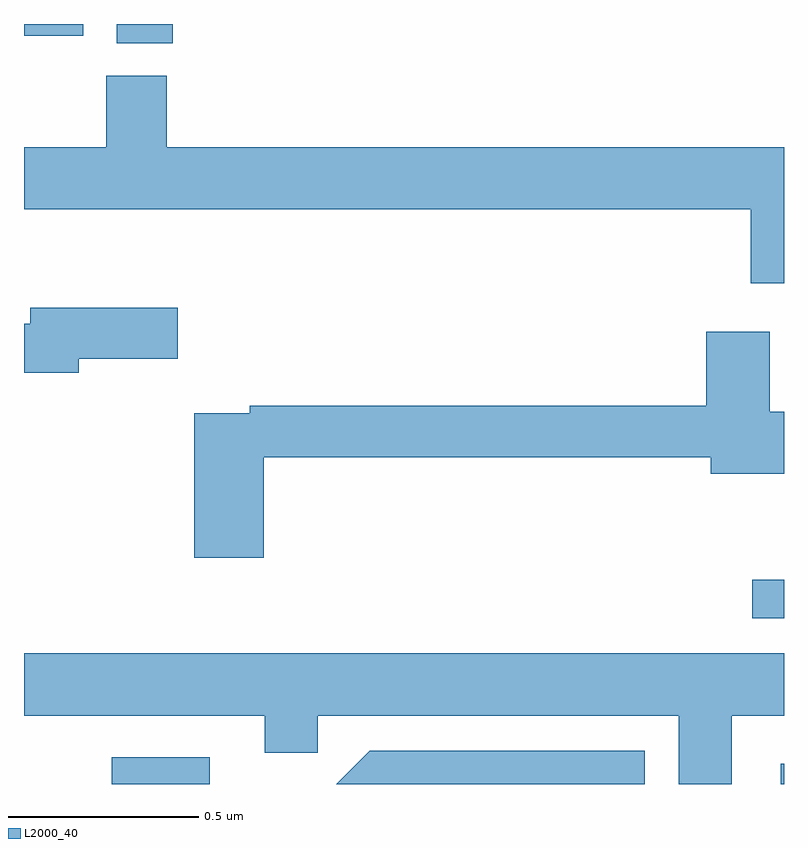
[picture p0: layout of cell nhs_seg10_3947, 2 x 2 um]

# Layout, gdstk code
import gdstk
lib = gdstk.Library(unit=1e-6, precision=1e-09)
def R(c, l, rs):  # rectangles x0, y0, x1, y1
    for r in rs: c.add(gdstk.rectangle(r[:2], r[2:], *l))
def P(c, l, *ps):  # polygons
    for p in ps: c.add(gdstk.Polygon(p, *l))
L2000_40 = (2000, 40)

nhs_seg10_3947 = lib.new_cell('nhs_seg10_3947')
R(nhs_seg10_3947, L2000_40, [(160.231,1269.5,160.489,1269.57), (161.991,1269.5,162,1269.553), (161.916,1269.936,162,1270.037), (160.244,1271.449,160.391,1271.5), (160,1271.469,160.156,1271.5)])
P(nhs_seg10_3947, L2000_40, [(162,1271.176),(160.376,1271.176),(160.376,1271.364),(160.216,1271.364),(160.216,1271.176),(160,1271.176),(160,1271.012),(161.912,1271.012),(161.912,1270.818),(162,1270.818)],
  [(160.144,1270.619),(160.405,1270.619),(160.405,1270.753),(160.016,1270.753),(160.016,1270.711),(160,1270.711),(160,1270.582),(160.144,1270.582)],
  [(160.631,1270.36),(161.807,1270.36),(161.807,1270.316),(162,1270.316),(162,1270.479),(161.962,1270.479),(161.962,1270.69),(161.795,1270.69),(161.795,1270.496),(160.594,1270.496),(160.594,1270.476),(160.448,1270.476),(160.448,1270.095),(160.631,1270.095)],
  [(161.863,1269.68),(162,1269.68),(162,1269.844),(160,1269.844),(160,1269.68),(160.634,1269.68),(160.634,1269.582),(160.773,1269.582),(160.773,1269.68),(161.723,1269.68),(161.723,1269.5),(161.863,1269.5)],
  [(161.634,1269.588),(160.91,1269.588),(160.822,1269.5),(161.634,1269.5)])

lib.write_gds('nhs_seg10_3947.gds')
